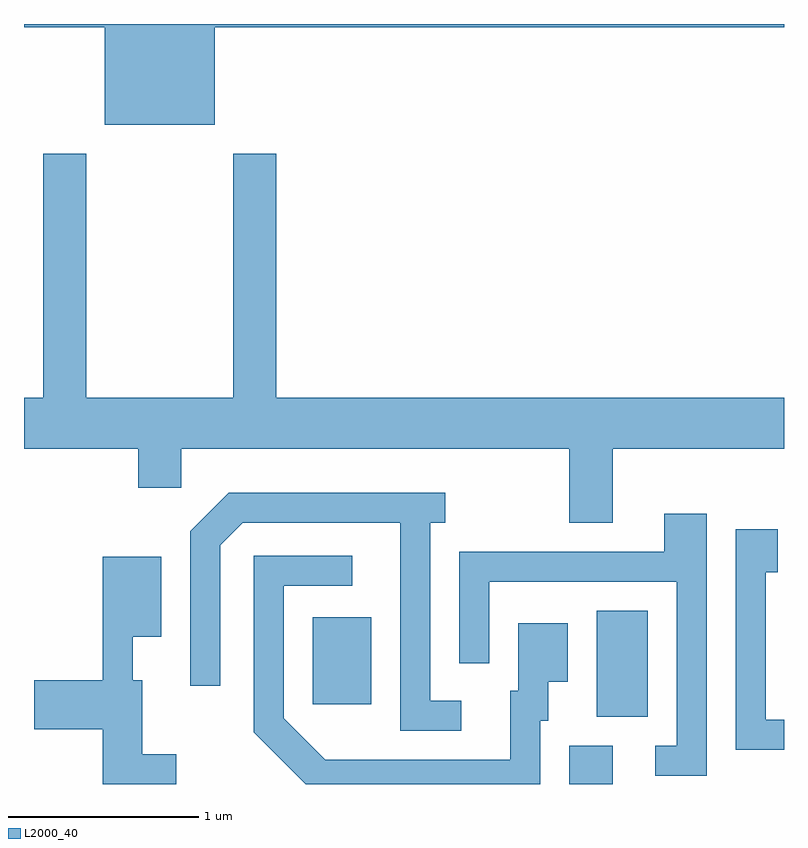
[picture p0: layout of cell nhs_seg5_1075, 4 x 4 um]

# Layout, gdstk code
import gdstk
lib = gdstk.Library(unit=1e-6, precision=1e-09)
def R(c, l, rs):  # rectangles x0, y0, x1, y1
    for r in rs: c.add(gdstk.rectangle(r[:2], r[2:], *l))
def P(c, l, *ps):  # polygons
    for p in ps: c.add(gdstk.Polygon(p, *l))
L2000_40 = (2000, 40)

nhs_seg5_1075 = lib.new_cell('nhs_seg5_1075')
R(nhs_seg5_1075, L2000_40, [(218.481,1526.072,218.709,1526.274), (218.626,1526.426,218.894,1526.984), (217.131,1526.491,217.439,1526.949)])
P(nhs_seg5_1075, L2000_40, [(216.614,1530.056),(219.611,1530.056),(219.611,1530.072),(215.611,1530.072),(215.611,1530.056),(216.036,1530.056),(216.036,1529.541),(216.614,1529.541)],
  [(218.709,1527.836),(219.611,1527.836),(219.611,1528.104),(216.939,1528.104),(216.939,1529.389),(216.711,1529.389),(216.711,1528.104),(215.939,1528.104),(215.939,1529.389),(215.711,1529.389),(215.711,1528.104),(215.611,1528.104),(215.611,1527.836),(216.211,1527.836),(216.211,1527.631),(216.439,1527.631),(216.439,1527.836),(218.481,1527.836),(218.481,1527.446),(218.709,1527.446)],
  [(217.913,1526.509),(217.749,1526.509),(217.749,1527.446),(217.828,1527.446),(217.828,1527.604),(216.689,1527.604),(216.486,1527.402),(216.486,1526.588),(216.644,1526.588),(216.644,1527.329),(216.762,1527.446),(217.591,1527.446),(217.591,1526.351),(217.913,1526.351)],
  [(219.204,1527.494),(218.981,1527.494),(218.981,1527.294),(217.901,1527.294),(217.901,1526.708),(218.059,1526.708),(218.059,1527.136),(219.046,1527.136),(219.046,1526.274),(218.933,1526.274),(218.933,1526.116),(219.204,1526.116)],
  [(219.611,1526.409),(219.514,1526.409),(219.514,1527.186),(219.579,1527.186),(219.579,1527.414),(219.356,1527.414),(219.356,1526.251),(219.611,1526.251)],
  [(218.329,1526.406),(218.369,1526.406),(218.369,1526.611),(218.474,1526.611),(218.474,1526.919),(218.211,1526.919),(218.211,1526.564),(218.171,1526.564),(218.171,1526.199),(217.197,1526.199),(216.979,1526.417),(216.979,1527.116),(217.338,1527.116),(217.338,1527.274),(216.821,1527.274),(216.821,1526.344),(217.093,1526.072),(218.329,1526.072)],
  [(216.413,1526.229),(216.234,1526.229),(216.234,1526.619),(216.184,1526.619),(216.184,1526.846),(216.334,1526.846),(216.334,1527.269),(216.026,1527.269),(216.026,1526.619),(215.666,1526.619),(215.666,1526.361),(216.026,1526.361),(216.026,1526.072),(216.413,1526.072)])

lib.write_gds('nhs_seg5_1075.gds')
